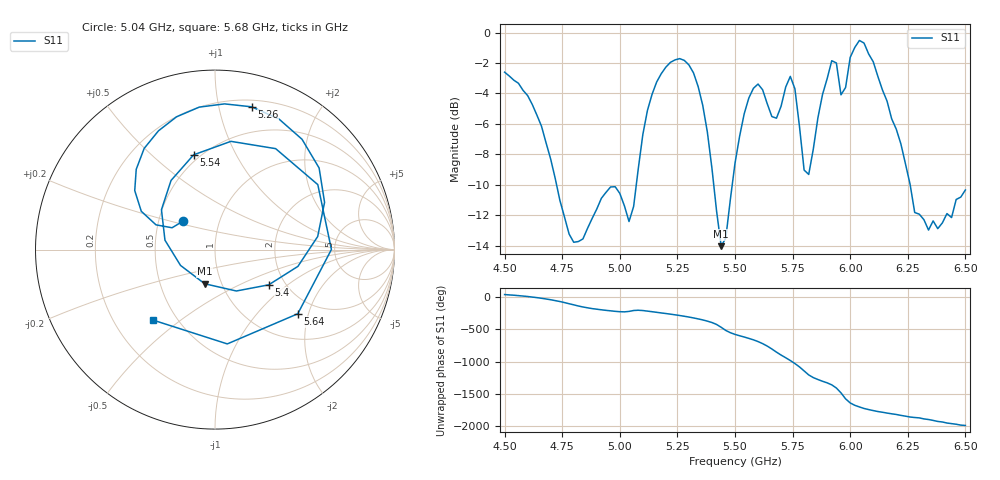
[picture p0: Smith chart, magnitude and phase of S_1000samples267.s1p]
! TOUCHSTONE file generated by CST MICROWAVE STUDIO
! Date and time: Thu Oct 27 14:04:17 2022
! Project name: L.cst
! Parameters = {Di=1.27; Epsilon_r=1.56; InnerDiameter=1.27; Length=2; Lf=10; Lg=60; OuterConductorThickness=0.2921; OuterDiameter=3.6; Wf=3; Wp=41.2; de=1.5; df=6.8; g=0.8; gx=3.73893; gy=0.690458; h=2.34; hf=1.524; px=13.9485; py=13.9882; w=9.7; wx=10.2095; wy=13.2978}
! Header version: 2018
! Port assignment regex: !\s*Touchstone port\s*([0-9]+)\s*=\s*(CST MWS port|CST DS port)\s*([0-9]+|Zmin|Zmax)\s*\(\"(.*)\"\)(\s*mode\s*([0-9]+))?.*
! Touchstone port assignment:
! Touchstone port 1 = CST MWS port 1 ("")
# GHz S DB R 50
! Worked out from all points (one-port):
!   101 points, 4.5 GHz to 6.5 GHz, reference 50 ohm
!   lowest |S11| = -14.0 dB at 5.44 GHz (marker M1), VSWR 1.50, Z = 41.6 - j16.5 ohm
!   |S11| at or under -10 dB: 4.726 GHz to 5.072 GHz (346 MHz wide, 7.06 % of centre); 5.408 GHz to 5.488 GHz (80.33 MHz wide, 1.47 % of centre); 6.26 GHz to end of sweep
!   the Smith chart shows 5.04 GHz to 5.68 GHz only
!   S11 on the Smith chart (normalised r, x): 5.04 GHz: 0.66, +0.22; 5.26 GHz: 0.26, +1.26; 5.4 GHz: 1.65, -0.74; 5.54 GHz: 0.46, +0.69; 5.64 GHz: 1.58, -1.71; 5.68 GHz: 0.37, -0.40
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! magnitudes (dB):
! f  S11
! 4.5 GHz  -2.6
! 4.66 GHz  -6.1
! 4.76 GHz  -12.1
! 4.82 GHz  -13.7
! 5 GHz  -10.6
! 5.04 GHz  -12.4
! 5.14 GHz  -4.1
! 5.26 GHz  -1.7
! 5.34 GHz  -3.5
! 5.4 GHz  -8.9
! 5.44 GHz  -14.0
! 5.46 GHz  -13.5
! 5.5 GHz  -8.6
! 5.54 GHz  -5.3
! 5.6 GHz  -3.4
! 5.64 GHz  -4.7
! 5.68 GHz  -5.6
! 5.74 GHz  -2.9
! 5.76 GHz  -3.7
! 5.8 GHz  -9.0
! 5.82 GHz  -9.3
! 5.92 GHz  -1.8
! 5.96 GHz  -4.1
! 6 GHz  -1.6
! 6.1 GHz  -1.9
! 6.26 GHz  -10.0
! 6.34 GHz  -13.0
! 6.5 GHz  -10.3
